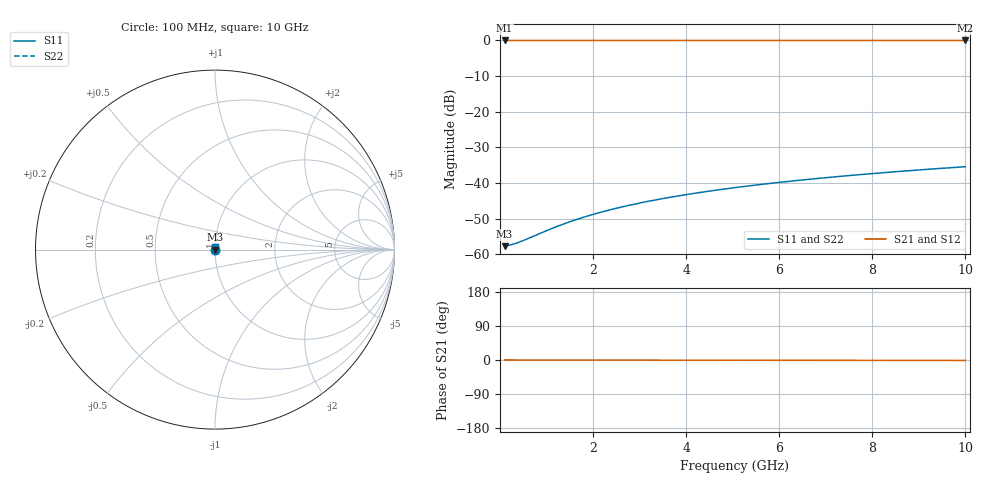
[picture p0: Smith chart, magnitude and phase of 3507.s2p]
# Hz S RI R 50.00
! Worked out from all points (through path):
!   100 points, 100 MHz to 10 GHz, reference 50 ohm
!   highest |S21| = -0.01 dB at 100 MHz (marker M1); lowest = 0.0 dB at 10 GHz (marker M2)
!   lowest |S11| = -57.7 dB at 100 MHz (marker M3), VSWR 1.00, Z = 50.1 + j0.0169 ohm
!   |S11| at or under -10 dB: start of sweep to end of sweep
!   |S22| runs from -57.7 to -35.4 dB; largest |S21 - S12| = 0
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1e8  0.00129 0.000168  0.9987 -0.000212  0.9987 -0.000212  0.00129 0.000168
2e8  0.0013 0.000336  0.9987 -0.000425  0.9987 -0.000425  0.0013 0.000336
3e8  0.00131 0.000505  0.9987 -0.000637  0.9987 -0.000637  0.00131 0.000505
4e8  0.00131 0.000673  0.9987 -0.000849  0.9987 -0.000849  0.00131 0.000673
6e8  0.00132 0.00101  0.9987 -0.00127  0.9987 -0.00127  0.00132 0.00101
1e9  0.00134 0.00168  0.9987 -0.00212  0.9987 -0.00212  0.00134 0.00168
1.2e9  0.00134 0.00202  0.9987 -0.00255  0.9987 -0.00255  0.00134 0.00202
1.5e9  0.00135 0.00252  0.9986 -0.00318  0.9986 -0.00318  0.00135 0.00252
1.8e9  0.00136 0.00303  0.9986 -0.00382  0.9986 -0.00382  0.00136 0.00303
2.1e9  0.00137 0.00353  0.9986 -0.00446  0.9986 -0.00446  0.00137 0.00353
2.5e9  0.00138 0.0042  0.9986 -0.00531  0.9986 -0.00531  0.00138 0.0042
2.9e9  0.00139 0.00488  0.9986 -0.00616  0.9986 -0.00616  0.00139 0.00488
3.4e9  0.00141 0.00572  0.9986 -0.00722  0.9986 -0.00722  0.00141 0.00572
3.8e9  0.00143 0.00639  0.9986 -0.00807  0.9986 -0.00807  0.00143 0.00639
4.2e9  0.00144 0.00707  0.9986 -0.00892  0.9986 -0.00892  0.00144 0.00707
4.6e9  0.00146 0.00774  0.9985 -0.00977  0.9985 -0.00977  0.00146 0.00774
5.1e9  0.00148 0.00858  0.9985 -0.0108  0.9985 -0.0108  0.00148 0.00858
5.9e9  0.00152 0.00993  0.9985 -0.0125  0.9985 -0.0125  0.00152 0.00993
6.7e9  0.00156 0.0113  0.9984 -0.0142  0.9984 -0.0142  0.00156 0.0113
7.5e9  0.00161 0.0126  0.9984 -0.0159  0.9984 -0.0159  0.00161 0.0126
8.4e9  0.00167 0.0141  0.9983 -0.0179  0.9983 -0.0179  0.00167 0.0141
1e10  0.00179 0.0168  0.9982 -0.0213  0.9982 -0.0213  0.00179 0.0168
